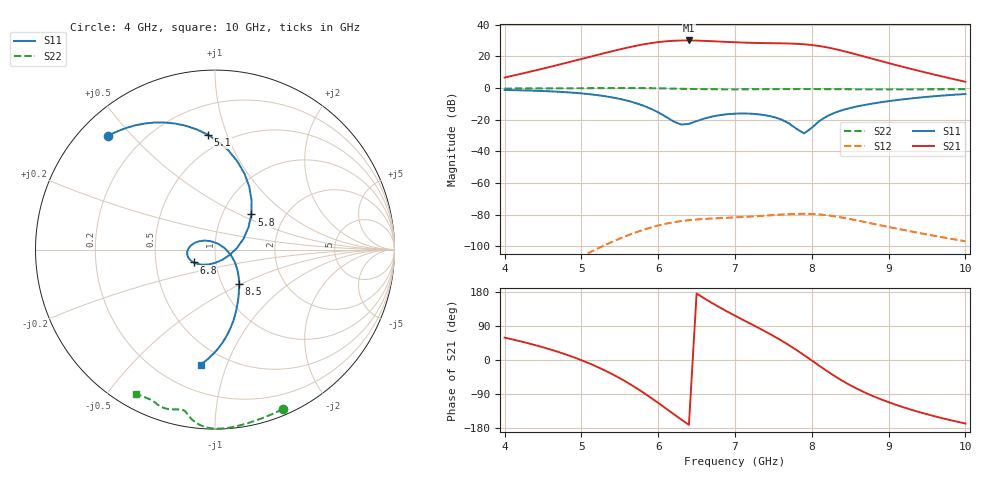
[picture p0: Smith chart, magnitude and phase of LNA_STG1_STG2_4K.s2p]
! Touchstone Ver. 1.0
! Number of ports is 2
# Hz	S	RI	R	50.000000	300.000000
! SCATTERING PARAMETERS  :
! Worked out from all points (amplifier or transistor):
!   61 points, 4 GHz to 10 GHz, reference 50 ohm
!   highest |S21| = 30.1 dB at 6.4 GHz (marker M1)
!   |S21| within 3 dB of that: 5.752 GHz to 8.02 GHz (2.268 GHz wide, 32.9 % of centre)
!   unconditionally stable (mu >= 1): start of sweep to end of sweep
!   at 5 GHz: K = 194.70, MAG = 36.6 dB, |S12| = -106.7 dB
!   at 7 GHz: K = 36.17, MAG = 36.7 dB, |S12| = -81.7 dB
!   at 10 GHz: K = 2069.59, MAG = 14.2 dB, |S12| = -96.8 dB
!   lowest NFmin = 0.95 dB at 6.4 GHz
!   S11 on the Smith chart (normalised r, x): 4 GHz: 0.08, +0.43; 5.1 GHz: 0.40, +0.86; 5.8 GHz: 1.37, +0.58; 6.8 GHz: 0.78, -0.11; 8.5 GHz: 1.20, -0.49; 10 GHz: 0.37, -0.81
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4e9  -0.5965 0.6332  1.104 1.841  -2.11e-07 5.31e-07  0.3768 -0.8892
4.6e9  -0.3392 0.7078  4.182 2.184  4.68e-07 -8.75e-07  0.2505 -0.9439
5e9  -0.1019 0.6698  8.282 -0.0686  -4.69e-07 -4.61e-06  0.1645 -0.9723
5.1e9  -0.0396 0.64  9.444 -1.45  -1.49e-06 -6.06e-06  0.1423 -0.9784
5.5e9  0.1644 0.4229  11.13 -12.39  -1.35e-05 -1.11e-05  0.047 -0.9961
5.7e9  0.2041 0.2717  6.574 -20.3  -2.58e-05 -8.01e-06  -0.00531 -0.9969
5.8e9  0.2024 0.1956  2.012 -23.7  -3.26e-05 -2.93e-06  -0.0321 -0.9936
6e9  0.1594 0.0618  -11.13 -25.99  -4.24e-05 1.62e-05  -0.0828 -0.9778
6.2e9  0.0828 -0.0291  -24.72 -18.99  -3.85e-05 4.28e-05  -0.1227 -0.9517
6.4e9  0.000821 -0.0739  -31.5 -4.98  -1.8e-05 6.45e-05  -0.1473 -0.9249
6.6e9  -0.0687 -0.0841  -29.57 9.221  1.08e-05 7.24e-05  -0.1618 -0.9059
6.8e9  -0.1192 -0.0718  -22.16 19.34  3.88e-05 6.73e-05  -0.1736 -0.8957
7e9  -0.1483 -0.0456  -12.69 24.91  6.24e-05 5.31e-05  -0.1871 -0.8916
7.3e9  -0.1487 0.00501  2.12 26.46  8.79e-05 1.91e-05  -0.213 -0.8906
7.5e9  -0.1171 0.0356  11.64 23.33  9.6e-05 -1.24e-05  -0.2343 -0.8905
7.8e9  -0.0217 0.0466  22.4 11.14  7.99e-05 -6.92e-05  -0.2717 -0.8862
8e9  0.0552 0.00704  22.91 -0.527  4.22e-05 -9.63e-05  -0.2971 -0.8773
8.2e9  0.1101 -0.0683  16.79 -9.467  -3.46e-06 -9.56e-05  -0.3182 -0.8645
8.5e9  0.1344 -0.1925  5.189 -11.93  -4.21e-05 -5.88e-05  -0.3405 -0.8471
8.7e9  0.1306 -0.2659  0.5674 -9.626  -4.62e-05 -3.44e-05  -0.3532 -0.839
9e9  0.1108 -0.3686  -2.235 -5.721  -3.93e-05 -1.09e-05  -0.3728 -0.8298
1e10  -0.0806 -0.6415  -1.54 -0.3389  -1.27e-05 6.91e-06  -0.4411 -0.8022
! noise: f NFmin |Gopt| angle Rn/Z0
4e+09  5.074  0.8708  -133.5  1.311
4.6e+09  2.792  0.7871  -116.4  0.582
5.3e+09  1.454  0.5589  -86.33  0.2401
6e+09  1.001  0.1716  -46.39  0.1146
6.6e+09  0.9654  0.08622  158.7  0.07366
7.3e+09  1.149  0.1604  -165.6  0.07371
8e+09  1.519  0.04567  -89.42  0.1318
8.6e+09  2.084  0.1999  44.11  0.2537
9.3e+09  3.427  0.4594  75.93  0.6097
1e+10  5.946  0.6479  96.08  1.712
